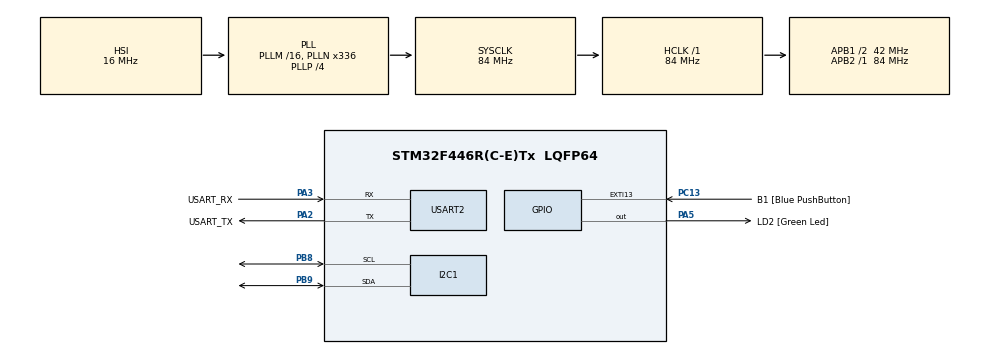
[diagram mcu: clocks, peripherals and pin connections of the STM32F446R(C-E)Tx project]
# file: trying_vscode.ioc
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FREERTOS.Tasks01=defaultTask,24,128,StartDefaultTask,Default,NULL,Dynamic,NULL,NULL
Mcu.Family=STM32F4
Mcu.Name=STM32F446R(C-E)Tx
Mcu.Package=LQFP64
NVIC.PriorityGroup=NVIC_PRIORITYGROUP_4
PA13.GPIO_Label=TMS
PA13.Mode=Serial_Wire
PA13.Signal=SYS_JTMS-SWDIO
PA14.GPIO_Label=TCK
PA14.Mode=Serial_Wire
PA14.Signal=SYS_JTCK-SWCLK
PA2.GPIO_Label=USART_TX
PA2.Mode=Asynchronous
PA2.Signal=USART2_TX
PA3.GPIO_Label=USART_RX
PA3.Mode=Asynchronous
PA3.Signal=USART2_RX
PA5.GPIO_Label=LD2 [Green Led]
PA5.Signal=GPIO_Output
PB3.GPIO_Label=SWO
PB3.Signal=SYS_JTDO-SWO
PB8.Mode=I2C
PB8.Signal=I2C1_SCL
PB9.Mode=I2C
PB9.Signal=I2C1_SDA
PC13.GPIO_Label=B1 [Blue PushButton]
PC13.GPIO_ModeDefaultEXTI=GPIO_MODE_IT_FALLING
PC13.Signal=GPXTI13
PC14-OSC32_IN.Mode=LSE-External-Oscillator
PC14-OSC32_IN.Signal=RCC_OSC32_IN
PC15-OSC32_OUT.Mode=LSE-External-Oscillator
PC15-OSC32_OUT.Signal=RCC_OSC32_OUT
PH0-OSC_IN.Mode=HSE-External-Oscillator
PH0-OSC_IN.Signal=RCC_OSC_IN
PH1-OSC_OUT.Mode=HSE-External-Oscillator
PH1-OSC_OUT.Signal=RCC_OSC_OUT
ProjectManager.HeapSize=0x200
ProjectManager.StackSize=0x400
ProjectManager.TargetToolchain=CMake
RCC.48MHZClocksFreq_Value=84000000
RCC.AHBFreq_Value=84000000
RCC.APB1CLKDivider=RCC_HCLK_DIV2
RCC.APB1Freq_Value=42000000
RCC.APB1TimFreq_Value=84000000
RCC.APB2Freq_Value=84000000
RCC.APB2TimFreq_Value=84000000
RCC.CortexFreq_Value=84000000
RCC.FLatency-AdvancedSettings=FLASH_LATENCY_2
RCC.HCLKFreq_Value=84000000
RCC.HSE_VALUE=8000000
RCC.HSI_VALUE=16000000
RCC.PLLN=336
RCC.PLLP=RCC_PLLP_DIV4
RCC.SYSCLKFreq_VALUE=84000000
RCC.SYSCLKSource=RCC_SYSCLKSOURCE_PLLCLK
RCC.USBFreq_Value=168000000
RCC.VCOOutputFreq_Value=336000000
USART2.VirtualMode=VM_ASYNC
VP_FREERTOS_VS_CMSIS_V2.Mode=CMSIS_V2
board=NUCLEO-F446RE

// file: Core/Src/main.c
/* USER CODE BEGIN Header */
/**
  ******************************************************************************
  * @file           : main.c
  * @brief          : Board initialization and weather station startup
  ******************************************************************************
  */
/* USER CODE END Header */
#include "main.h"
#include "cmsis_os.h"

/* USER CODE BEGIN Includes */
#include "bmp280.h"
#include "ssd1306.h"
#include "weather_station.h"
/* USER CODE END Includes */

I2C_HandleTypeDef hi2c1;

UART_HandleTypeDef huart2;

/* Definitions for defaultTask */
osThreadId_t defaultTaskHandle;
const osThreadAttr_t defaultTask_attributes = {
  .name = "defaultTask",
  .stack_size = 128 * 4,
  .priority = (osPriority_t) osPriorityNormal,
};

void SystemClock_Config(void);
static void MX_GPIO_Init(void);
static void MX_USART2_UART_Init(void);
static void MX_I2C1_Init(void);
void StartDefaultTask(void *argument);

/* USER CODE BEGIN 0 */
/* Keep the ISR short; output tasks apply the selected unit on their next cycle. */
void HAL_GPIO_EXTI_Callback(uint16_t GPIO_Pin)
{
    if (GPIO_Pin == B1_Pin) {
        WeatherStation_ToggleTemperatureUnit();
    }
}
/* USER CODE END 0 */

int main(void)
{

  /* MCU Configuration--------------------------------------------------------*/

  /* Reset of all peripherals, Initializes the Flash interface and the Systick. */
  HAL_Init();

  /* Configure the system clock */
  SystemClock_Config();

  /* Initialize all configured peripherals */
  MX_GPIO_Init();
  MX_USART2_UART_Init();
  MX_I2C1_Init();
  /* USER CODE BEGIN 2 */

  /* Initialize both devices before the scheduler starts sharing the I2C bus. */
  SSD1306_Init(&hi2c1);
  BMP280_Init(&hi2c1);

  /* The button callback does not call the RTOS. */
  HAL_NVIC_SetPriority(EXTI15_10_IRQn, 5, 0);
  HAL_NVIC_EnableIRQ(EXTI15_10_IRQn);

  const char startup_message[] = "FreeRTOS Weather Station starting...\r\n";
  HAL_UART_Transmit(&huart2, (uint8_t *)startup_message,
                    sizeof(startup_message) - 1U, HAL_MAX_DELAY);

  /* USER CODE END 2 */

  /* Init scheduler */
  osKernelInitialize();

  /* USER CODE BEGIN RTOS_MUTEX */
  WeatherStation_CreateResources(&hi2c1, &huart2);
  /* USER CODE END RTOS_MUTEX */

  /* USER CODE BEGIN RTOS_QUEUES */
  /* The sensor queue is created with the application resources above. */
  /* USER CODE END RTOS_QUEUES */

  /* Create the thread(s) */
  /* creation of defaultTask */
  defaultTaskHandle = osThreadNew(StartDefaultTask, NULL, &defaultTask_attributes);

  /* USER CODE BEGIN RTOS_THREADS */
  WeatherStation_StartTasks();
  /* USER CODE END RTOS_THREADS */

  /* Start scheduler */
  osKernelStart();

  /* We should never get here as control is now taken by the scheduler */

  /* Infinite loop */
  while (1)
  {

  }
}

void SystemClock_Config(void)
{
  RCC_OscInitTypeDef RCC_OscInitStruct = {0};
  RCC_ClkInitTypeDef RCC_ClkInitStruct = {0};

  __HAL_RCC_PWR_CLK_ENABLE();
  __HAL_PWR_VOLTAGESCALING_CONFIG(PWR_REGULATOR_VOLTAGE_SCALE3);

  RCC_OscInitStruct.OscillatorType = RCC_OSCILLATORTYPE_HSI;
  RCC_OscInitStruct.HSIState = RCC_HSI_ON;
  RCC_OscInitStruct.HSICalibrationValue = RCC_HSICALIBRATION_DEFAULT;
  RCC_OscInitStruct.PLL.PLLState = RCC_PLL_ON;
  RCC_OscInitStruct.PLL.PLLSource = RCC_PLLSOURCE_HSI;
  RCC_OscInitStruct.PLL.PLLM = 16;
  RCC_OscInitStruct.PLL.PLLN = 336;
  RCC_OscInitStruct.PLL.PLLP = RCC_PLLP_DIV4;
  RCC_OscInitStruct.PLL.PLLQ = 2;
  RCC_OscInitStruct.PLL.PLLR = 2;
  if (HAL_RCC_OscConfig(&RCC_OscInitStruct) != HAL_OK)
  {
    Error_Handler();
  }

  RCC_ClkInitStruct.ClockType = RCC_CLOCKTYPE_HCLK|RCC_CLOCKTYPE_SYSCLK
                              |RCC_CLOCKTYPE_PCLK1|RCC_CLOCKTYPE_PCLK2;
  RCC_ClkInitStruct.SYSCLKSource = RCC_SYSCLKSOURCE_PLLCLK;
  RCC_ClkInitStruct.AHBCLKDivider = RCC_SYSCLK_DIV1;
  RCC_ClkInitStruct.APB1CLKDivider = RCC_HCLK_DIV2;
  RCC_ClkInitStruct.APB2CLKDivider = RCC_HCLK_DIV1;

  if (HAL_RCC_ClockConfig(&RCC_ClkInitStruct, FLASH_LATENCY_2) != HAL_OK)
  {
    Error_Handler();
  }
}

static void MX_I2C1_Init(void)
{
  hi2c1.Instance = I2C1;
  hi2c1.Init.ClockSpeed = 100000;
  hi2c1.Init.DutyCycle = I2C_DUTYCYCLE_2;
  hi2c1.Init.OwnAddress1 = 0;
  hi2c1.Init.AddressingMode = I2C_ADDRESSINGMODE_7BIT;
  hi2c1.Init.DualAddressMode = I2C_DUALADDRESS_DISABLE;
  hi2c1.Init.OwnAddress2 = 0;
  hi2c1.Init.GeneralCallMode = I2C_GENERALCALL_DISABLE;
  hi2c1.Init.NoStretchMode = I2C_NOSTRETCH_DISABLE;
  if (HAL_I2C_Init(&hi2c1) != HAL_OK)
  {
    Error_Handler();
  }
}

static void MX_USART2_UART_Init(void)
{
  huart2.Instance = USART2;
  huart2.Init.BaudRate = 115200;
  huart2.Init.WordLength = UART_WORDLENGTH_8B;
  huart2.Init.StopBits = UART_STOPBITS_1;
  huart2.Init.Parity = UART_PARITY_NONE;
  huart2.Init.Mode = UART_MODE_TX_RX;
  huart2.Init.HwFlowCtl = UART_HWCONTROL_NONE;
  huart2.Init.OverSampling = UART_OVERSAMPLING_16;
  if (HAL_UART_Init(&huart2) != HAL_OK)
  {
    Error_Handler();
  }
}

static void MX_GPIO_Init(void)
{
  GPIO_InitTypeDef GPIO_InitStruct = {0};

  __HAL_RCC_GPIOC_CLK_ENABLE();
  __HAL_RCC_GPIOH_CLK_ENABLE();
  __HAL_RCC_GPIOA_CLK_ENABLE();
  __HAL_RCC_GPIOB_CLK_ENABLE();

  HAL_GPIO_WritePin(LD2_GPIO_Port, LD2_Pin, GPIO_PIN_RESET);

  GPIO_InitStruct.Pin = B1_Pin;
  GPIO_InitStruct.Mode = GPIO_MODE_IT_FALLING;
  GPIO_InitStruct.Pull = GPIO_NOPULL;
  HAL_GPIO_Init(B1_GPIO_Port, &GPIO_InitStruct);

  GPIO_InitStruct.Pin = LD2_Pin;
  GPIO_InitStruct.Mode = GPIO_MODE_OUTPUT_PP;
  GPIO_InitStruct.Pull = GPIO_NOPULL;
  GPIO_InitStruct.Speed = GPIO_SPEED_FREQ_LOW;
  HAL_GPIO_Init(LD2_GPIO_Port, &GPIO_InitStruct);
}

void StartDefaultTask(void *argument)
{
  /* USER CODE BEGIN 5 */
  /* Retained for CubeMX compatibility; application work runs in its own tasks. */
  (void)argument;
  for (;;)
  {
    osDelay(1000);
  }
  /* USER CODE END 5 */
}

void Error_Handler(void)
{
  __disable_irq();
  while (1)
  {
  }
}
